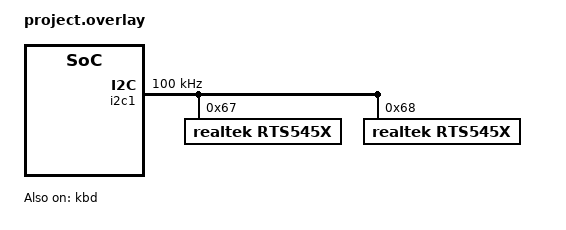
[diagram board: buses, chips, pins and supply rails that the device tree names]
/* Copyright 2023 The ChromiumOS Authors
 * Use of this source code is governed by a BSD-style license that can be
 * found in the LICENSE file.
 */

 / {
	aliases {
		gpio-wp = &ec_wp_l;
	};

	named-gpios {
		compatible = "named-gpios";

		ec_wp_l: write-protect {
			gpios = <&gpioa 0 GPIO_INPUT>;
		};
		/* unimplemented GPIOs */
		entering-rw {
			enum-name = "GPIO_ENTERING_RW";
		};
	};

	named-i2c-ports {
		compatible = "named-i2c-ports";

		smbus1 {
			i2c-port = <&i2c1>;
			enum-names = "I2C_1";
		};
	};

};

&i2c1 {
	status = "okay";
	clock-frequency = <I2C_BITRATE_STANDARD>;
	pinctrl-0 = <&i2c1_clk_gpc1_default
		     &i2c1_data_gpc2_default>;
	pinctrl-names = "default";
	label = "I2C_1";

	rts545x@67 {
		compatible = "realtek,rts545x";
		reg = <0x67>;
	};
	rts545x@68 {
		compatible = "realtek,rts545x";
		reg = <0x68>;
	};
};

&kbd {
	status = "okay";
	pinctrl-0 = <
		&ksi0_default
		&ksi1_default
		&ksi2_default
		&ksi3_default
		&ksi4_default
		&ksi5_default
		&ksi6_default
		&ksi7_default
		&kso0_default
		&kso1_default
		&kso2_default
		&kso3_default
		&kso4_default
		&kso5_default
		&kso6_default
		&kso7_default
		&kso8_default
		&kso9_default
		&kso10_default
		&kso11_default
		&kso12_default
		&kso13_default
		&kso14_default
		&kso15_default
		&kso16_default
		&kso17_default
	>;
	actual-key-mask = < 0x1c 0xff 0xff 0xff 0xff 0xf5 0xff 0xa4 0xff 0xfe 0x55 0xfa 0xca 0xff 0xff 0xff 0xff 0xff>;
	pinctrl-names = "default";
	row-size = <8>;
	col-size = <18>;
};
